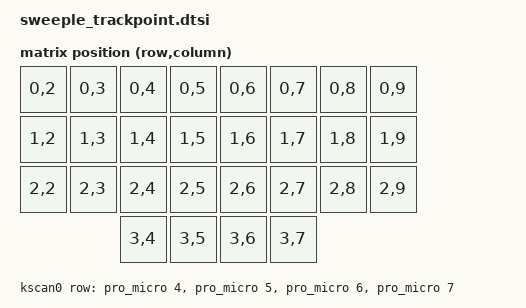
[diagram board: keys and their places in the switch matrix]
/*
 * Copyright (c) 2020 Pete Johanson
 *
 * SPDX-License-Identifier: MIT
 */

#include <dt-bindings/zmk/matrix_transform.h>

/ {
    chosen {
        zmk,kscan = &kscan0;
        zmk,matrix-transform = &default_transform;
    };

    default_transform: keymap_transform_0 {
        compatible = "zmk,matrix-transform";
        columns = <10>;
        rows = <4>;
        map = <
RC(0,2) RC(0,3) RC(0,4) RC(0,5)  RC(0,6) RC(0,7) RC(0,8) RC(0,9)
RC(1,2) RC(1,3) RC(1,4) RC(1,5)  RC(1,6) RC(1,7) RC(1,8) RC(1,9)
RC(2,2) RC(2,3) RC(2,4) RC(2,5)  RC(2,6) RC(2,7) RC(2,8) RC(2,9)
                RC(3,4) RC(3,5)  RC(3,6) RC(3,7)
        >;
    };

    kscan0: kscan {
        compatible = "zmk,kscan-gpio-matrix";
        wakeup-source;

        diode-direction = "col2row";
        row-gpios
            = <&pro_micro 4 (GPIO_ACTIVE_HIGH | GPIO_PULL_DOWN)>
            , <&pro_micro 5 (GPIO_ACTIVE_HIGH | GPIO_PULL_DOWN)>
            , <&pro_micro 6 (GPIO_ACTIVE_HIGH | GPIO_PULL_DOWN)>
            , <&pro_micro 7 (GPIO_ACTIVE_HIGH | GPIO_PULL_DOWN)>
            ;

    };

    // TODO: per-key RGB node(s)?
};

/*
 * PS/2 Mouse / Trackpoint - User Configuration
 *
 * Enable PS/2 drivers on this side of the keyboard.
 * It MUST be the central half. If you connected your TP or mouse to the
 * left side, then move the following content to `your_keyboard_left.overlay`
 *
 * You also need to adjust `Kconfig.defconfig` and configure that this side
 * is the central side.
 *
 */

#define MOUSE_PS2_DRIVER_UART

#define MOUSE_PS2_PIN_SCL_PRO_MICRO <&pro_micro 1 GPIO_ACTIVE_HIGH>
#define MOUSE_PS2_PIN_SDA_PRO_MICRO <&pro_micro 0 GPIO_ACTIVE_HIGH>
#define MOUSE_PS2_PIN_RST_PRO_MICRO <&pro_micro 9 GPIO_ACTIVE_HIGH>
#define MOUSE_PS2_PIN_SDA_PINCTRL <NRF_PSEL(UART_RX, 0, 8)>
#define MOUSE_PS2_UART_BAUD_RATE <14400>

/*
 * PS/2 Mouse / Trackpoint - User Configuration if NOT using nice!nano
 *
 * WARNING: Do NOT change this if you are using a nice!nano v2 or clone.
 */

// Unexposed UART pins
// In UART two different pins are used for receiving and transmitting, but PS/2
// uses the same pin for both.
//
// The UART config still requires both pins to be configured. So we use one of
// the nrf52 pins that are not exposed on the nice!nano board.
//
// Do NOT change these if you are using a nice!nano (or a clone of it)
#define MOUSE_PS2_PIN_UNEXPOSED_TX <NRF_PSEL(UART_TX, 0, 27)>
#define MOUSE_PS2_PIN_UNEXPOSED_RX <NRF_PSEL(UART_RX, 0, 28)>


// Adjust GPIO interrupt priority to the highest level.
//
// IMPORTANT TLDR:
// If you are using the nice_nano_v2 board, you don't need to make changes to
// the config below and can leave it as it is.
//
// Explanation of these settings:
//
// PS/2 events must be processed within 30-50us, but frequently bluetooth and
// other interrupts take longer to finish.
//
// Therefore we change the default GPIO priority to the highest level (0) and
// demote all BT interrupt priorities by one level using the kconfig settings:
// - CONFIG_BT_CTLR_LLL_PRIO 1
// - CONFIG_BT_CTLR_ULL_HIGH_PRIO 2
// - CONFIG_BT_CTLR_ULL_LOW_PRIOCONFIG 2
//
// These config options are enabled automatically by the PS2 UART and GPIO
// drivers... so you don't have to enable them manually.
//
// Then we lower the interrupt priority of all other devices by 2 levels using
// the devicetree config below.
//
// This allows the PS/2 interrupts to be triggered faster and reduces
// transmission errors.
//
// If you are using the nice_nano_v2 board, you can reuse my config below.
//
// Otherwise, you can generate the interrupt overrides using this script:
// https://github.com/infused-kim/kb_zmk_ps2_mouse_trackpoint_driver/blob/main/scripts/gen_interrupt_priority_overrides.py
//
// Make sure to do it on a zephyr.dts where the interrupts have not been
// adjusted yet (i.e. a config that doesn't have the the following options
// enabled).
//
// If you are building using a toolchain you can find the zephyr.dts in the
// build directory, which by default is: `app/build/zephyr/zephyr.dts`
//
// If you are building using the github actions, copy the output of the build
// step `xxxx_right - nice_nano_v2 Devicetree file` into a file and run the
// script on it.

// gpiote should have the highest interrupt priority (0)
&gpiote {
    interrupts = < 6 0 >;
};

// All other priorities should be two levels lower than their defaults
// (which is usually 1 and should be demoted to 3)
&clock {
    interrupts = < 0 3 >;
};

&power {
    interrupts = < 0 3 >;
};

&radio {
    interrupts = < 1 3 >;
};

&uart0 {
    interrupts = < 2 3 >;
};

&i2c0 {
    interrupts = < 3 3 >;
};

&spi0 {
    interrupts = < 3 3 >;
};

&i2c1 {
    interrupts = < 4 3 >;
};

&spi1 {
    interrupts = < 4 3 >;
};

&nfct {
    interrupts = < 5 3 >;
};

&adc {
    interrupts = < 7 3 >;
};

&timer0 {
    interrupts = < 8 3 >;
};

&timer1 {
    interrupts = < 9 3 >;
};

&timer2 {
    interrupts = < 10 3 >;
};

&rtc0 {
    interrupts = < 11 3 >;
};

&temp {
    interrupts = < 12 3 >;
};

&rng {
    interrupts = < 13 3 >;
};

&ecb {
    interrupts = < 14 3 >;
};

&ccm {
    interrupts = < 15 3 >;
};

&wdt {
    interrupts = < 16 3 >;
};

&rtc1 {
    interrupts = < 17 3 >;
};

&qdec {
    interrupts = < 18 3 >;
};

&comp {
    interrupts = < 19 3 >;
};

&egu0 {
    interrupts = < 20 3 >;
};

&egu1 {
    interrupts = < 21 3 >;
};

&egu2 {
    interrupts = < 22 3 >;
};

&egu3 {
    interrupts = < 23 3 >;
};

&egu4 {
    interrupts = < 24 3 >;
};

&egu5 {
    interrupts = < 25 3 >;
};

&timer3 {
    interrupts = < 26 3 >;
};

&timer4 {
    interrupts = < 27 3 >;
};

&pwm0 {
    interrupts = < 28 3 >;
};

&pdm0 {
    interrupts = < 29 3 >;
};

&pwm1 {
    interrupts = < 33 3 >;
};

&pwm2 {
    interrupts = < 34 3 >;
};

&spi2 {
    interrupts = < 35 3 >;
};

&rtc2 {
    interrupts = < 36 3 >;
};

&i2s0 {
    interrupts = < 37 3 >;
};

&usbd {
    interrupts = < 39 3 >;
};

&uart1 {
    interrupts = < 40 3 >;
};

&qspi {
    interrupts = < 41 3 >;
};

&pwm3 {
    interrupts = < 45 3 >;
};

&spi3 {
    interrupts = < 47 3 >;
};

&cryptocell {
    interrupts = < 42 3 >;
};

/ {
    mouse_ps2: mouse_ps2 {
		status = "disabled";
        compatible = "zmk,input-mouse-ps2";

#ifdef MOUSE_PS2_DRIVER_UART
	    ps2-device = <&uart_ps2>;
#else
	    ps2-device = <&gpio_ps2>;
#endif

#ifdef MOUSE_PS2_PIN_RST_PRO_MICRO
        rst-gpios = MOUSE_PS2_PIN_RST_PRO_MICRO;
#endif
    };

    mouse_ps2_input_listener: mouse_ps2_input_listener {
        compatible = "zmk,input-listener";
        status = "disabled";

        device = <&mouse_ps2>;
    };
};
&uart0 {
    status = "disabled";
    compatible = "nordic,nrf-uarte";
    current-speed = MOUSE_PS2_UART_BAUD_RATE;
    pinctrl-0 = <&uart0_ps2_default>;
    pinctrl-1 = <&uart0_ps2_off>;
    pinctrl-names = "default", "sleep";
    uart_ps2: uart_ps2 {
        status="disabled";
        compatible = "uart-ps2";
        scl-gpios = MOUSE_PS2_PIN_SCL_PRO_MICRO;
        sda-gpios = MOUSE_PS2_PIN_SDA_PRO_MICRO;
    };
};

&pro_micro_i2c {
    status = "okay";

    oled: ssd1306@3c {
        compatible = "solomon,ssd1306fb";
        reg = <0x3c>;
        width = <128>;
        height = <32>;
        segment-offset = <0>;
        page-offset = <0>;
        display-offset = <0>;
        multiplex-ratio = <31>;
        segment-remap;
        com-invdir;
        com-sequential;
        inversion-on;
        prechargep = <0x22>;
    };
};

&mouse_ps2_input_listener {
};

&mouse_ps2 {
};

&mouse_ps2 {
    status = "okay";
		disable-clicking;
		tp-sensitivity = <80>;
		tp-x-invert;
		tp-y-invert;
		sampling-rate = <80>;
};

&mouse_ps2_input_listener {
  status = "okay";
};

&uart0 {
  status = "okay";
};

&uart_ps2 {
  status="okay";
};

#define MOUSE_PS2_DT_PRESENT

&pinctrl {
	// This pinctrl state is used for receiving
	// For `UART_TX`, set an unused and unexposed pin
	// For `UART_RX`, set the PS/2 SDA pin number
	uart0_ps2_default: uart0_ps2_default {
		group1 {
			psels = MOUSE_PS2_PIN_UNEXPOSED_TX,
					MOUSE_PS2_PIN_SDA_PINCTRL;
		};
	};

	// Set this to the same pins as uart0_ps2_default
	uart0_ps2_sleep: uart0_ps2_sleep {
		group1 {
			psels = MOUSE_PS2_PIN_UNEXPOSED_TX,
					MOUSE_PS2_PIN_SDA_PINCTRL;
			low-power-enable;
		};
	};

	// The nrf52 UART controller is not compatible with the PS/2
	// transmission frame. So the PS/2 UART driver doesn't use UART for
	// transmissions and instead use GPIO bit-banging.
	//
	// When the driver switches to transmit mode, it frees up the SDA pin by
    // switching the UART controller to unexposed/unused pins.
	//
	// Then it configures the GPIO controller to use the SCL and SDA pins
	uart0_ps2_off: uart0_ps2_off {
		group1 {
			psels = MOUSE_PS2_PIN_UNEXPOSED_TX,
					MOUSE_PS2_PIN_UNEXPOSED_RX;
		};
	};
};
